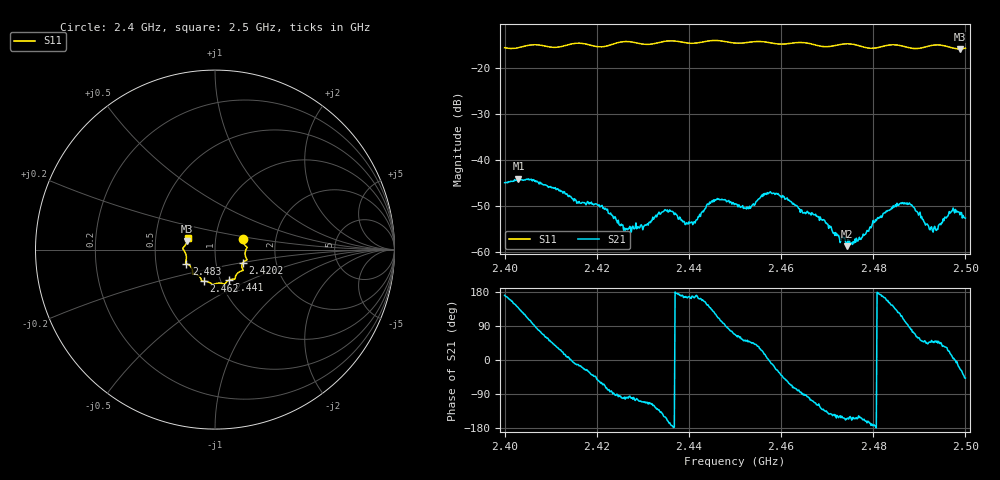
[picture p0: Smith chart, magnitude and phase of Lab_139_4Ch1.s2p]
# Hz S RI R 50
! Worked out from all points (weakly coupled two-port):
!   601 points, 2.4 GHz to 2.5 GHz, reference 50 ohm
!   highest |S21| = -44.06 dB at 2.403 GHz (marker M1); lowest = -58.7 dB at 2.4743 GHz (marker M2)
!   lowest |S11| = -15.8 dB at 2.4988 GHz (marker M3), VSWR 1.39, Z = 36.4 + j3.44 ohm
!   |S11| at or under -10 dB: start of sweep to end of sweep
!   S12 and S22 are empty: the file has one direction only
!   S11 on the Smith chart (normalised r, x): 2.4 GHz: 1.36, +0.17; 2.4202 GHz: 1.35, -0.20; 2.441 GHz: 1.09, -0.39; 2.462 GHz: 0.83, -0.30; 2.483 GHz: 0.72, -0.12; 2.5 GHz: 0.73, +0.09
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2.4e9  0.1561 0.0604  -0.00561 0.000911  0 0  0 0
2.403e9  0.1655 0.0267  -0.00461 0.00425  0 0  0 0
2.416667e9  0.1776 -0.0583  0.00322 -0.00108  0 0  0 0
2.420167e9  0.1559 -0.0719  0.00196 -0.00258  0 0  0 0
2.426333e9  0.157 -0.1163  -0.000261 -0.00179  0 0  0 0
2.433333e9  0.113 -0.1523  -0.00172 -0.00194  0 0  0 0
2.441e9  0.0768 -0.1706  -0.00203 0.000533  0 0  0 0
2.445833e9  0.052 -0.1939  -0.00187 0.00318  0 0  0 0
2.45e9  0.0268 -0.1861  0.00127 0.00309  0 0  0 0
2.453e9  -0.000234 -0.1917  0.00192 0.00226  0 0  0 0
2.4575e9  -0.0216 -0.1887  0.00443 -0.000216  0 0  0 0
2.462e9  -0.0618 -0.1762  0.00151 -0.00323  0 0  0 0
2.466667e9  -0.0766 -0.1667  -0.000778 -0.00256  0 0  0 0
2.474333e9  -0.1248 -0.136  -0.00105 -0.000485  0 0  0 0
2.477167e9  -0.1249 -0.1219  -0.0012 -0.000665  0 0  0 0
2.483e9  -0.1593 -0.0783  -0.00254 0.00109  0 0  0 0
2.483333e9  -0.161 -0.0775  -0.0025 0.00134  0 0  0 0
2.487833e9  -0.1595 -0.0501  0.000204 0.00342  0 0  0 0
2.493333e9  -0.1793 0.00409  0.00124 0.00144  0 0  0 0
2.497e9  -0.1657 0.024  0.00271 0.000603  0 0  0 0
2.498833e9  -0.1554 0.046  0.00233 -0.00102  0 0  0 0
2.5e9  -0.1531 0.0625  0.00157 -0.00173  0 0  0 0
